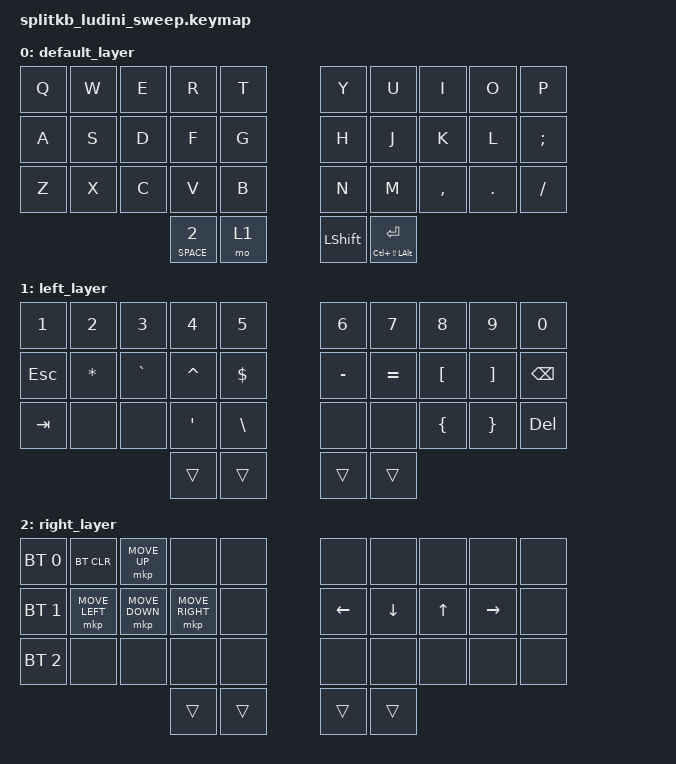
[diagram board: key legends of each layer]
#include <behaviors.dtsi>
#include <dt-bindings/zmk/keys.h>
#include <dt-bindings/zmk/bt.h>
#include <dt-bindings/zmk/pointing.h>

&mt {
  //  flavor = "tap-preferred";
   // tapping-term-ms = <200>;
};

/ {

        keymap {
                compatible = "zmk,keymap";

            default_layer {
        bindings = <
        &kp Q &kp W &kp E &kp R &kp T                       &kp Y &kp U  &kp I    &kp O   &kp P
        &kp A &kp S &kp D &kp F &kp G                       &kp H &kp J &kp K &kp L &kp SEMI
        &kp Z &kp X &kp C &kp V &kp B                       &kp N &kp M  &kp COMMA &kp DOT &kp SLASH
                        &lt SPACE 2 &mo 1                   &kp LSHIFT &mt LC(LS(LEFT_ALT)) RET
        >;
        };

            left_layer {
        bindings = <
        &kp N1  &kp N2      &kp N3      &kp N4      &kp N5          &kp N6      &kp N7      &kp N8      &kp N9      &kp N0
        &kp ESC &kp STAR    &kp GRAVE   &kp CARET   &kp DLLR        &kp MINUS   &kp EQUAL   &kp LBKT    &kp RBKT    &kp BACKSPACE
        &kp TAB &none       &none       &kp SQT     &kp BSLH        &none       &none       &kp LBRC    &kp RBRC    &kp DEL
                                        &trans      &trans          &trans      &trans
        >;
        };

            right_layer {
        bindings = <
        &bt BT_SEL 0    &bt BT_CLR      &mkp MOVE_UP       &none       &none            &none   &none   &none   &none   &none
        &bt BT_SEL 1    &mkp MOVE_LEFT  &mkp MOVE_DOWN     &mkp MOVE_RIGHT      &none            &kp LEFT   &kp DOWN   &kp UP   &kp RIGHT   &none
        &bt BT_SEL 2    &none           &none       &none       &none            &none   &none   &none   &none   &none
                                                    &trans      &trans           &trans  &trans
        >;
        };
    };
};
